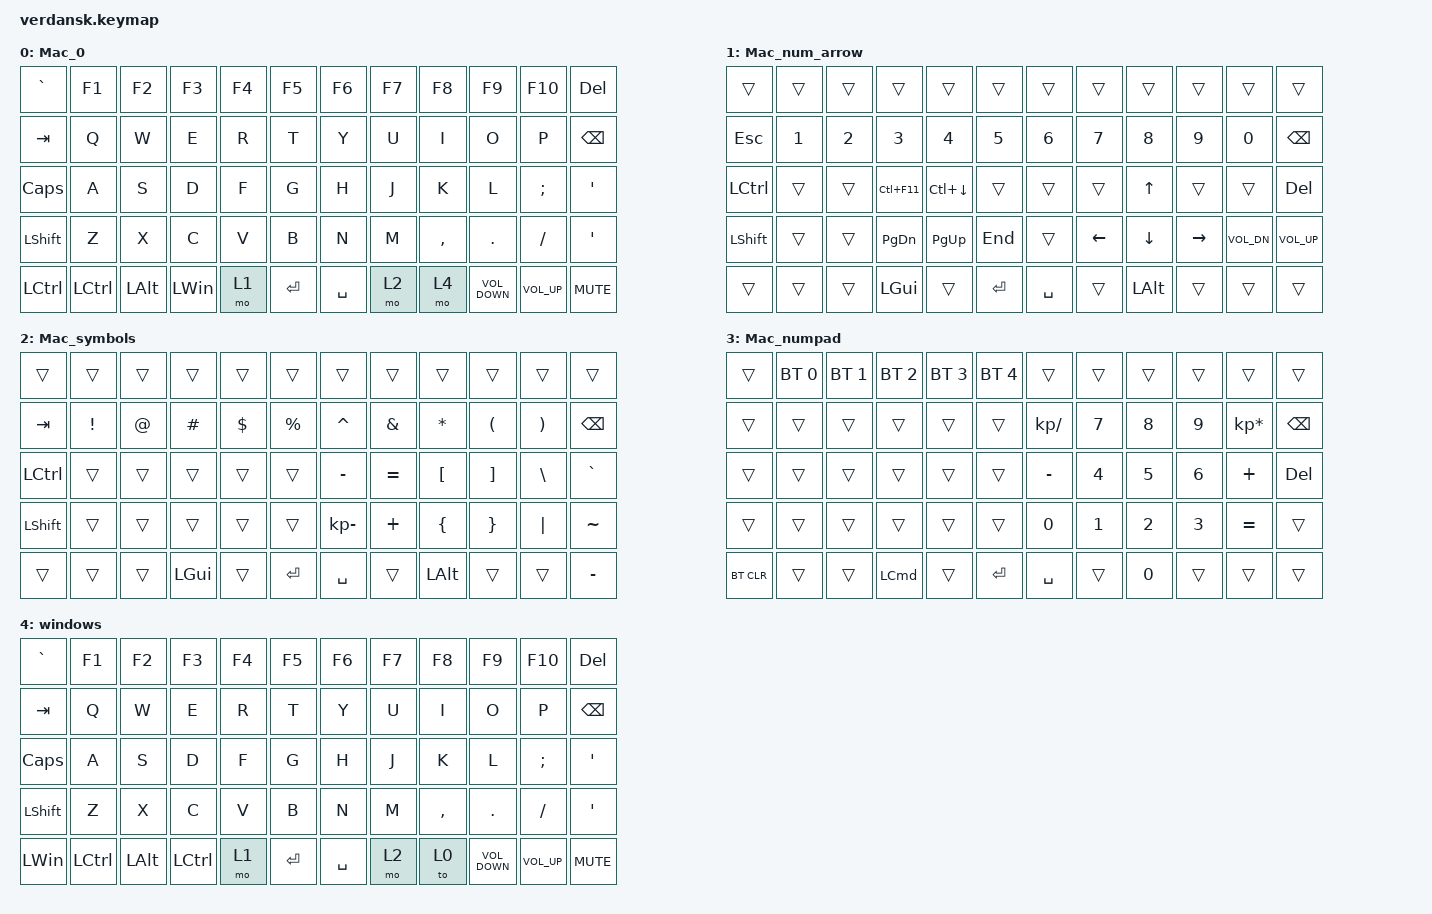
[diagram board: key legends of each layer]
#include <behaviors.dtsi>
#include <dt-bindings/zmk/bt.h>
#include <dt-bindings/zmk/keys.h>

/ {
    keymap {
        compatible = "zmk,keymap";

        Mac_0 {
            // ---------------------------------------------------------------------------------
            // |   `  |  1  |  2  |  3  |  4  |  5  |     |  6  |  7  |  8  |  9  |  0  | BKSP |
            // |  TAB |  Q  |  W  |  E  |  R  |  T  |     |  Y  |  U  |  I  |  O  |  P  |  \   |
            // | CAPS |  A  |  S  |  D  |  F  |  G  |     |  H  |  J  |  K  |  L  |  ;  |  ENT |
            // | SHFT |  Z  |  X  |  C  |  V  |  B  |     |  N  |  M  |  ,  |  .  |  /  | APOS |
            // | CTRL | ALT | GUI | SPC | SPC | SPC |     | SPC | LOW |LARW |DARW |UARW | RARW |

            bindings = <
&kp GRAVE         &kp F1            &kp F2        &kp F3        &kp F4  &kp F5       &kp F6     &kp F7  &kp F8     &kp F9             &kp F10          &kp DELETE
&kp TAB           &kp Q             &kp W         &kp E         &kp R   &kp T        &kp Y      &kp U   &kp I      &kp O              &kp P            &kp BACKSPACE
&kp CAPS          &kp A             &kp S         &kp D         &kp F   &kp G        &kp H      &kp J   &kp K      &kp L              &kp SEMI         &kp SINGLE_QUOTE
&kp LSHFT         &kp Z             &kp X         &kp C         &kp V   &kp B        &kp N      &kp M   &kp COMMA  &kp DOT            &kp FSLH         &kp APOS
&kp LEFT_CONTROL  &kp LEFT_CONTROL  &kp LEFT_ALT  &kp LEFT_WIN  &mo 1   &kp ENTER    &kp SPACE  &mo 2   &mo 4      &kp C_VOLUME_DOWN  &kp C_VOLUME_UP  &kp K_MUTE
            >;
        };

        Mac_num_arrow {
            bindings = <
&trans     &trans  &trans  &trans         &trans        &trans       &trans     &trans    &trans    &trans     &trans        &trans
&kp ESC    &kp N1  &kp N2  &kp N3         &kp N4        &kp N5       &kp N6     &kp N7    &kp N8    &kp N9     &kp N0        &kp BSPC
&kp LCTRL  &trans  &trans  &kp LC(F11)    &kp LC(DOWN)  &trans       &trans     &trans    &kp UP    &trans     &trans        &kp DEL
&kp LSHFT  &trans  &trans  &kp PAGE_DOWN  &kp PAGE_UP   &kp END      &trans     &kp LEFT  &kp DOWN  &kp RIGHT  &kp C_VOL_DN  &kp C_VOL_UP
&trans     &trans  &trans  &kp LGUI       &trans        &kp ENTER    &kp SPACE  &trans    &kp LALT  &trans     &trans        &trans
            >;
        };

        Mac_symbols {
            bindings = <
&trans     &trans           &trans       &trans    &trans      &trans         &trans        &trans         &trans          &trans                &trans                 &trans
&kp TAB    &kp EXCLAMATION  &kp AT_SIGN  &kp HASH  &kp DOLLAR  &kp PERCENT    &kp CARET     &kp AMPERSAND  &kp ASTERISK    &kp LEFT_PARENTHESIS  &kp RIGHT_PARENTHESIS  &kp BSPC
&kp LCTRL  &trans           &trans       &trans    &trans      &trans         &kp MINUS     &kp EQUAL      &kp LBKT        &kp RBKT              &kp BSLH               &kp GRAVE
&kp LSHFT  &trans           &trans       &trans    &trans      &trans         &kp KP_MINUS  &kp PLUS       &kp LEFT_BRACE  &kp RIGHT_BRACE       &kp PIPE               &kp TILDE
&trans     &trans           &trans       &kp LGUI  &trans      &kp ENTER      &kp SPACE     &trans         &kp LALT        &trans                &trans                 &kp MINUS
            >;
        };

        Mac_numpad {
            bindings = <
&trans      &bt BT_SEL 0  &bt BT_SEL 1  &bt BT_SEL 2      &bt BT_SEL 3  &bt BT_SEL 4    &trans         &trans  &trans  &trans  &trans           &trans
&trans      &trans        &trans        &trans            &trans        &trans          &kp KP_DIVIDE  &kp N7  &kp N8  &kp N9  &kp KP_ASTERISK  &kp BACKSPACE
&trans      &trans        &trans        &trans            &trans        &trans          &kp MINUS      &kp N4  &kp N5  &kp N6  &kp PLUS         &kp DELETE
&trans      &trans        &trans        &trans            &trans        &trans          &kp N0         &kp N1  &kp N2  &kp N3  &kp EQUAL        &trans
&bt BT_CLR  &trans        &trans        &kp LEFT_COMMAND  &trans        &kp ENTER       &kp SPACE      &trans  &kp N0  &trans  &trans           &trans
            >;
        };

        windows {
            bindings = <
&kp GRAVE     &kp F1            &kp F2        &kp F3            &kp F4  &kp F5       &kp F6     &kp F7  &kp F8     &kp F9             &kp F10          &kp DELETE
&kp TAB       &kp Q             &kp W         &kp E             &kp R   &kp T        &kp Y      &kp U   &kp I      &kp O              &kp P            &kp BACKSPACE
&kp CAPS      &kp A             &kp S         &kp D             &kp F   &kp G        &kp H      &kp J   &kp K      &kp L              &kp SEMI         &kp SINGLE_QUOTE
&kp LSHFT     &kp Z             &kp X         &kp C             &kp V   &kp B        &kp N      &kp M   &kp COMMA  &kp DOT            &kp FSLH         &kp APOS
&kp LEFT_WIN  &kp LEFT_CONTROL  &kp LEFT_ALT  &kp LEFT_CONTROL  &mo 1   &kp ENTER    &kp SPACE  &mo 2   &to 0      &kp C_VOLUME_DOWN  &kp C_VOLUME_UP  &kp K_MUTE
            >;
        };
    };

    conditional_layers {
        compatible = "zmk,conditional-layers";

        numpad {
            if-layers = <1 2>;
            then-layer = <3>;
        };
    };
};
